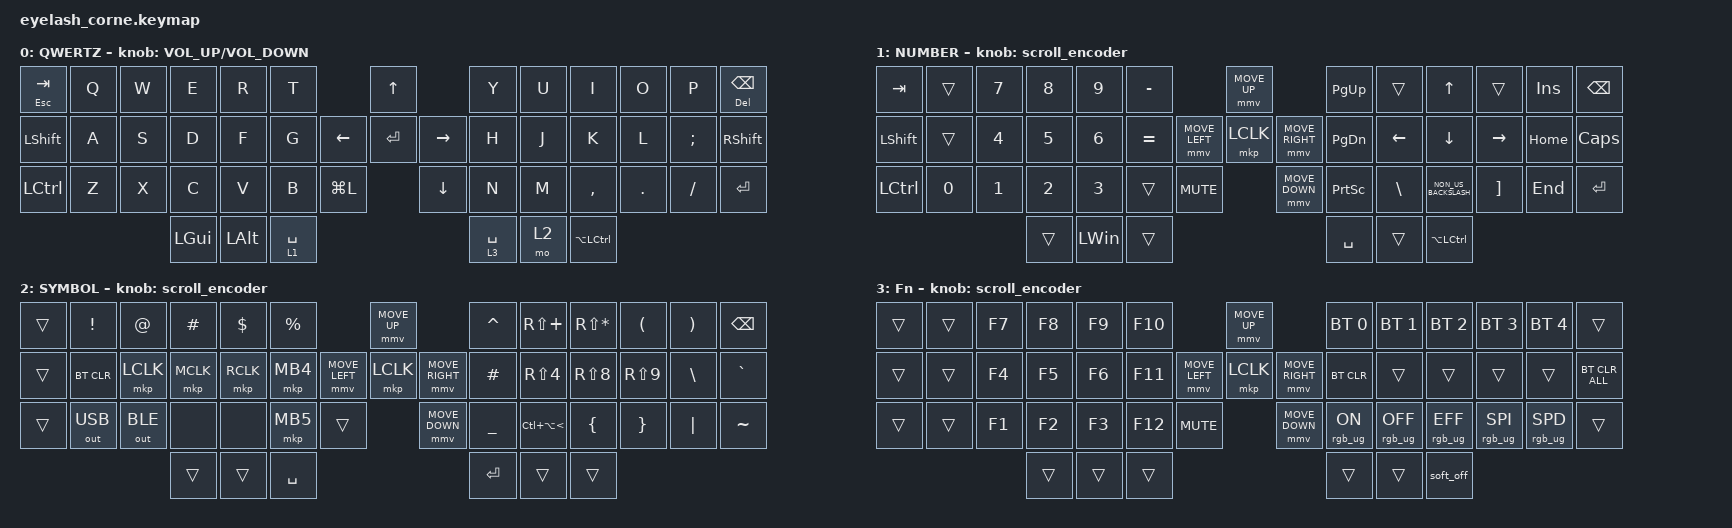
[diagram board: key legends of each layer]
#define ZMK_POINTING_DEFAULT_MOVE_VAL 1200  // 600
#define ZMK_POINTING_DEFAULT_SCRL_VAL 25   // 10

#include <input/processors.dtsi>
#include <zephyr/dt-bindings/input/input-event-codes.h>
#include <behaviors.dtsi>
#include <dt-bindings/zmk/bt.h>
#include <dt-bindings/zmk/keys.h>
#include <dt-bindings/zmk/outputs.h>
#include <dt-bindings/zmk/pointing.h>
#include <dt-bindings/zmk/rgb.h>

&mmv_input_listener { input-processors = <&zip_xy_scaler 2 1>; };

&msc_input_listener { input-processors = <&zip_scroll_scaler 2 1>; };

&msc {
    acceleration-exponent = <1>;      // 0
    time-to-max-speed-ms = <100>;       // 300
    delay-ms = <0>;                   // 0
};

&mmv {
    time-to-max-speed-ms = <500>;
    acceleration-exponent = <1>;
    trigger-period-ms = <16>;
};

/ {
    behaviors {
        td0: td0 {
            compatible = "zmk,behavior-tap-dance";
            display-name = "Shift/Caps Lock Tap Dance";
            #binding-cells = <0>;
            bindings = <&kp LEFT_SHIFT>, <&kp CAPS>;
        };
    };

    rgb_encoder: rgb_encoder {
        compatible = "zmk,behavior-sensor-rotate";
        #sensor-binding-cells = <0>;
        bindings = <&rgb_ug RGB_BRI>, <&rgb_ug RGB_BRD>;
    };

    scroll_encoder: scroll_encoder {
        compatible = "zmk,behavior-sensor-rotate";
        #sensor-binding-cells = <0>;
        bindings = <&msc SCRL_DOWN>, <&msc SCRL_UP>;

        tap-ms = <100>;
    };

    combos {
        compatible = "zmk,combos";

        AE {
            bindings = <&kp SINGLE_QUOTE>;
            key-positions = <8 9 10>;
        };

        UE {
            bindings = <&kp LEFT_BRACKET>;
            key-positions = <37 38 39>;
        };

        Fragezeichen {
            bindings = <&kp LS(MINUS)>;
            key-positions = <8 9>;
        };

        EssZett {
            bindings = <&kp MINUS>;
            key-positions = <4 3 2>;
        };

        Ausrufeyeichen {
            bindings = <&kp EXCLAMATION>;
            key-positions = <4 3>;
        };
    };

    keymap {
        compatible = "zmk,keymap";

        default_layer {
            display-name = "QWERTZ";
            bindings = <
&mt ESCAPE TAB  &kp Q  &kp W  &kp E     &kp R         &kp T                               &kp UP                &kp Y        &kp U  &kp I                 &kp O    &kp P     &mt DELETE BACKSPACE
&kp LEFT_SHIFT  &kp A  &kp S  &kp D     &kp F         &kp G                     &kp LEFT  &kp ENTER  &kp RIGHT  &kp H        &kp J  &kp K                 &kp L    &kp SEMI  &kp RSHIFT
&kp LCTRL       &kp Z  &kp X  &kp C     &kp V         &kp B        &kp LG(L)              &kp DOWN              &kp N        &kp M  &kp COMMA             &kp DOT  &kp FSLH  &kp ENTER
                              &kp LGUI  &kp LEFT_ALT  &lt 1 SPACE                                               &lt 3 SPACE  &mo 2  &kp LA(LEFT_CONTROL)
            >;

            sensor-bindings = <&inc_dec_kp C_VOLUME_UP C_VOLUME_DOWN>;
        };

        lower_layer {
            display-name = "NUMBER";
            bindings = <
&kp TAB           &trans  &kp NUMBER_7  &kp N8        &kp N9        &kp MINUS                                &mmv MOVE_UP                     &kp PAGE_UP      &trans          &kp UP_ARROW          &trans             &kp INSERT  &kp BSPC
&kp LEFT_SHIFT    &trans  &kp NUMBER_4  &kp N5        &kp NUMBER_6  &kp EQUAL                &mmv MOVE_LEFT  &mkp LCLK       &mmv MOVE_RIGHT  &kp PAGE_DOWN    &kp LEFT_ARROW  &kp DOWN_ARROW        &kp RIGHT          &kp HOME    &kp CAPS
&kp LEFT_CONTROL  &kp N0  &kp NUMBER_1  &kp NUMBER_2  &kp NUMBER_3  &trans     &kp C_MUTE                    &mmv MOVE_DOWN                   &kp PRINTSCREEN  &kp BACKSLASH   &kp NON_US_BACKSLASH  &kp RIGHT_BRACKET  &kp END     &kp ENTER
                                        &trans        &kp LEFT_WIN  &trans                                                                    &kp SPACE        &trans          &kp LA(LEFT_CONTROL)
            >;

            sensor-bindings = <&scroll_encoder>;
        };

        raise_layer {
            display-name = "SYMBOL";
            bindings = <
&trans  &kp EXCL      &kp AT        &kp HASH   &kp DLLR   &kp PRCNT                            &mmv MOVE_UP                     &kp CARET  &kp RS(PLUS)           &kp RS(ASTRK)  &kp LPAR    &kp RPAR  &kp BSPC
&trans  &bt BT_CLR    &mkp LCLK     &mkp MCLK  &mkp RCLK  &mkp MB4             &mmv MOVE_LEFT  &mkp LCLK       &mmv MOVE_RIGHT  &kp HASH   &kp RS(NUMBER_4)       &kp RS(N8)     &kp RS(N9)  &kp BSLH  &kp GRAVE
&trans  &out OUT_USB  &out OUT_BLE  &none      &none      &mkp MB5   &trans                    &mmv MOVE_DOWN                   &kp UNDER  &kp LC(LA(LESS_THAN))  &kp LBRC       &kp RBRC    &kp PIPE  &kp TILDE
                                    &trans     &trans     &kp SPACE                                                             &kp RET    &trans                 &trans
            >;

            sensor-bindings = <&scroll_encoder>;
        };

        layer_3 {
            display-name = "Fn";
            bindings = <
&trans  &trans  &kp F7  &kp F8  &kp F9  &kp F10                                &mmv MOVE_UP                     &bt BT_SEL 0    &bt BT_SEL 1     &bt BT_SEL 2     &bt BT_SEL 3     &bt BT_SEL 4     &trans
&trans  &trans  &kp F4  &kp F5  &kp F6  &kp F11                &mmv MOVE_LEFT  &mkp LCLK       &mmv MOVE_RIGHT  &bt BT_CLR      &trans           &trans           &trans           &trans           &bt BT_CLR_ALL
&trans  &trans  &kp F1  &kp F2  &kp F3  &kp F12  &kp C_MUTE                    &mmv MOVE_DOWN                   &rgb_ug RGB_ON  &rgb_ug RGB_OFF  &rgb_ug RGB_EFF  &rgb_ug RGB_SPI  &rgb_ug RGB_SPD  &trans
                        &trans  &trans  &trans                                                                  &trans          &trans           &soft_off
            >;

            sensor-bindings = <&scroll_encoder>;
        };
    };
};
